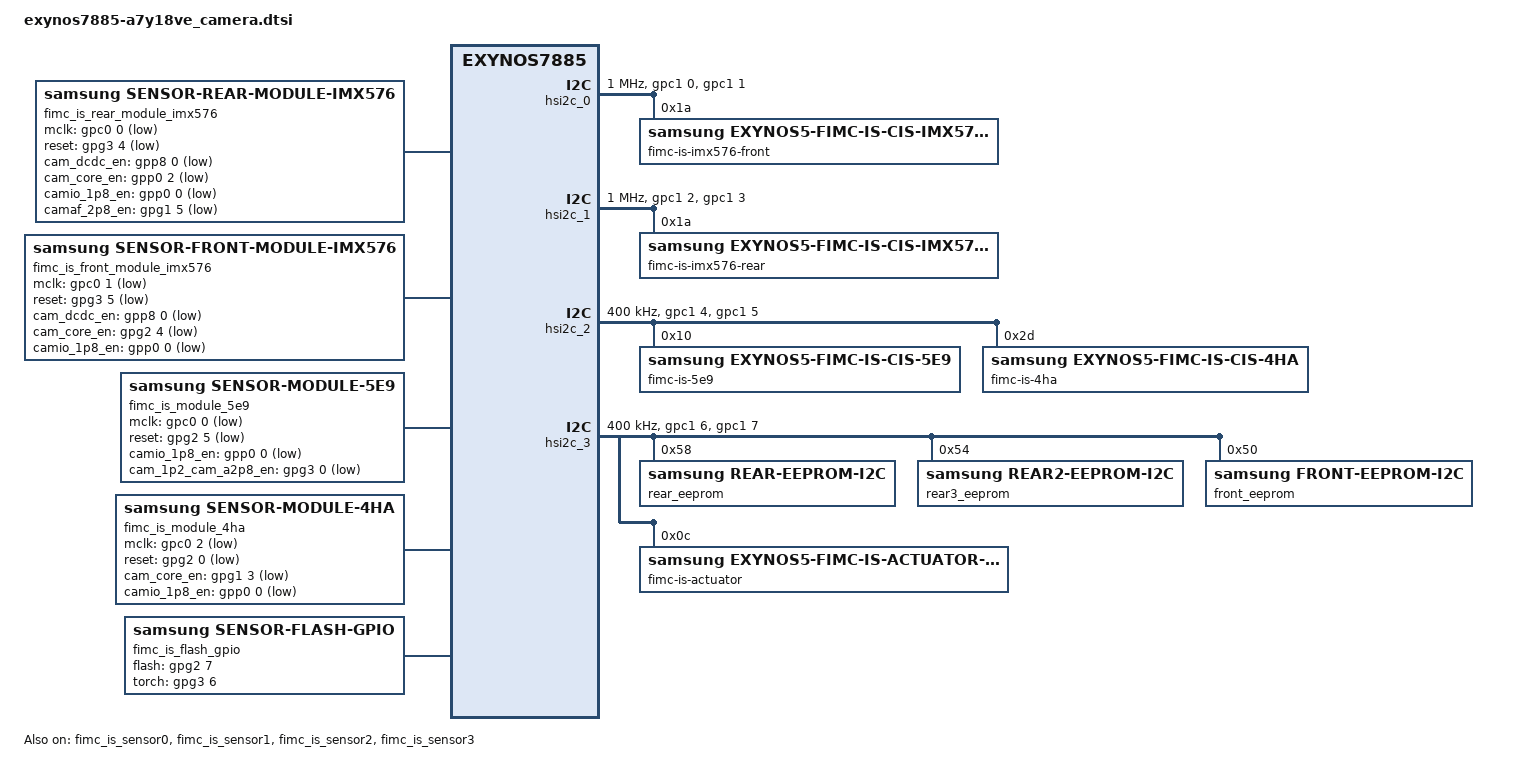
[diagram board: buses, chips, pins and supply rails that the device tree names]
/*
 * SAMSUNG EXYNOS7885 board camera device tree source
 *
 * Copyright (c) 2018 Samsung Electronics Co., Ltd.
 *		http://www.samsung.com
 *
 * This program is free software; you can redistribute it and/or modify
 * it under the terms of the GNU General Public License version 2 as
 * published by the Free Software Foundation.
 */

#include <dt-bindings/camera/fimc_is.h>

/ {
	fragment@camera {
		target-path = "/";
		__overlay__ {
			fimc_is_rear_module_imx576: fimc-is_rear_sensor_imx576@1A {
				compatible = "samsung,sensor-rear-module-imx576";

				pinctrl-names = "pin0", "pin1", "pin2", "release";
				pinctrl-0 = <>;
				pinctrl-1 = <&fimc_is_mclk0_out>;
				pinctrl-2 = <&fimc_is_mclk0_fn>;
				pinctrl-3 = <>;

				position = <0>;					/* Rear:0. Front:1 */
				id = <0>; 						/* bns_id */
				mclk_ch = <0>;					/* XCI0_MCLK */
				sensor_i2c_ch = <1>;				/* HSI2C1 */

				gpio_mclk = <&gpc0 0 0x1>;			/* RCAM1_RCAM2_MCLK - XCI0_MCLK */
				gpio_reset = <&gpg3 4 0x1>;			/* RCAM1_RST_N - XGPIO24 */

				gpio_cam_dcdc_en = <&gpp8 0 0x1>;	/* CAM_DCDC_EN - XUSI2_SDA1_NSS_RTS		---> 24M_CAMERA_1.8V (core voltage source) */
				gpio_cam_core_en = <&gpp0 2 0x1>;	/* RCAM1_LDO_EN - XU0CTSN		---> DVDD1P05, AVDD2P8 */
				gpio_camio_1p8_en = <&gpp0 0 0x1>;	/* CAM_IO_EN - XU0RXD			---> VDDIO1P8 */
				gpio_camaf_2p8_en = <&gpg1 5 0x1>;	/* RCAM1_AFVDD_2P8_EN - XGPIO9	---> AFVDD_2P8  */
				shared_camio_1p8;
				shared_mclk;
				status = "okay";

				af {
					product_name = <19>;			/* ACTUATOR_NAME_DW9808 */
					i2c_addr = <0x18>;
					i2c_ch = <3>;
				};

				flash {
					product_name = <11>;			/* FLADRV_NAME_DRV_FLASH_GPIO : S2MU005 */
					flash_first_gpio = <2>;		/* DICO not use first, second gpio value */
					flash_second_gpio = <1>;
				};
			};

			fimc_is_front_module_imx576: fimc-is_front_sensor_imx576@1A {
				compatible = "samsung,sensor-front-module-imx576";

				pinctrl-names = "pin0", "pin1", "pin2", "release";
				pinctrl-0 = <>;
				pinctrl-1 = <&fimc_is_mclk1_out>;
				pinctrl-2 = <&fimc_is_mclk1_fn>;
				pinctrl-3 = <>;

				position = <1>;					/* Rear:0. Front:1 */
				id = <1>; 						/* bns_id */
				mclk_ch = <1>;					/* XCI1_MCLK */
				sensor_i2c_ch = <0>;				/* HSI2C0 */

				gpio_mclk = <&gpc0 1 0x1>;			/* FCAM_MCLK - XCI1_MCLK */
				gpio_reset = <&gpg3 5 0x1>;			/* FCAM_RST_N - XGPIO25 */

				gpio_cam_dcdc_en = <&gpp8 0 0x1>;	/* CAM_DCDC_EN - XUSI2_SDA1_NSS_RTS		---> 24M_CAMERA_1.8V (core voltage source) */
				gpio_cam_core_en = <&gpg2 4 0x1>;	/* FCAM_LDO_EN - XGPIO16		---> DVDD1P05, AVDD2P8 */
				gpio_camio_1p8_en = <&gpp0 0 0x1>;	/* CAM_IO_EN - XU0RXD			---> VDDIO1P8 */
				shared_camio_1p8;
				status = "okay";
			};

			fimc_is_module_5e9: fimc-is_sensor_5e9@10 {
				compatible = "samsung,sensor-module-5e9";

				pinctrl-names = "pin0", "pin1", "pin2", "release";
				pinctrl-0 = <>;
				pinctrl-1 = <&fimc_is_mclk0_in>;
				pinctrl-2 = <&fimc_is_mclk0_fn>;
				pinctrl-3 = <>;

				position = <4>;							/* Rear:0. Front:1 */
				id = <3>;									/* bns_id */
				mclk_ch = <0>;
				sensor_i2c_ch = <2>;						/* HSI2C3 */

				gpio_mclk = <&gpc0 0 0x1>;					/* RCAM1_RCAM2_MCLK - XCI0_MCLK */
				gpio_reset = <&gpg2 5 0x1>;					/* RCAM2_RST_N - XGPIO17 */
				gpio_camio_1p8_en = <&gpp0 0 0x1>;			/* CAM_IO_EN - XU0RXD */
				gpio_cam_1p2_cam_a2p8_en = <&gpg3 0 0x1>;		/* RCAM2_LDO_EN - XGPIO20 */
				shared_camio_1p8;
				shared_mclk;
				status = "okay";
			};

			fimc_is_module_4ha: fimc-is_sensor_4ha@6C {
				compatible = "samsung,sensor-module-4ha";

				pinctrl-names = "pin0", "pin1", "pin2", "release";
				pinctrl-0 = <>;
				pinctrl-1 = <&fimc_is_mclk2_out>;
				pinctrl-2 = <&fimc_is_mclk2_fn>;
				pinctrl-3 = <>;

				position = <2>;					/* Rear:0. Front:1 .. Rear3:6*/
				id = <2>;					/* bns_id */
				mclk_ch = <2>;
				sensor_i2c_ch = <2>;

				gpio_mclk = <&gpc0 2 0x1>;				/* RCAM3_MCLK */
				gpio_reset = <&gpg2 0 0x1>;				/* RCAM3_RST_N */
				gpio_cam_core_en = <&gpg1 3 0x1>;		/* RCAM3_LDO_EN - XGPIO7	---> DVDD1P05, AVDD2P8 */
				gpio_camio_1p8_en = <&gpp0 0 0x1>;		/* CAM_IO_EN - XU0RXD		---> VDDIO1P8 */
				status = "okay";
			};

			fimc_is_flash_gpio: fimc-is-flash_gpio@0 {
				compatible = "samsung,sensor-flash-gpio";
				id = <0>; /* Rear  */
				status = "okay";

				flash-gpio = <&gpg2 7 0>;	/* CAM_FLASH_EN - XGPIO19 */
				torch-gpio = <&gpg3 6 0>;	/* CAM_TORCH_EN - XGPIO26 */
			};

		}; /* end of __overlay__ */
	}; /* end of fragment */
}; /* end of root */


/***** reference symbol node *****/
&fimc_is {
	pinctrl-names = "default","release";
	pinctrl-0 = <&fimc_is_mclk0_out &fimc_is_mclk1_out &fimc_is_mclk2_out>;
	pinctrl-1 = <>;

	sensor_common_cfg {
		use_csi_dma_split;
	};

	vender {
		rear_sensor_id = <115>;		/* SENSOR_NAME_IMX576 */
		front_sensor_id = <115>;		/* SENSOR_NAME_IMX576 */
		rear2_sensor_id = <39>;		/* SENSOR_NAME_S5K4HA */
		rear3_sensor_id = <41>;		/* SENSOR_NAME_S5K5E9 */

		//use_module_check;
		//skip_cal_loading;

		max_supported_camera = <6>;
		supported_cameraId = <0 1 20 23 50 52>;

		max_camera_num = <4>;
		camera_info0 {				/* 0 : rear - SENSOR_NAME_IMX576 */
			isp = <0>;			/* 0 : INT , 1 : EXT , 2 : SOC */
			cal_memory = <2>;		/* 0 : N , 1 : FROM , 2 : EEPROM , 3 : OTP  */
			read_version = <0>;		/* 0 : SYSFS , 1 : CAMON */
			core_voltage = <0>;		/* 0 : N , 1 : Y  */
			upgrade = <0>;			/* 0 : N , 1 : SYSFS , 2 : CAMON */
			companion = <0>;		/* 0 : N , 1 : Y  */
			ois = <0>;			/* 0 : N , 1 : Y  */
			valid = <1>;			/* 0 : INVALID, 1 : VALID */
			dual_open = <0>;		/* 0 : SINGLE_OPEN , 1 : DUAL_OPEN */
			position = <0>;			/* 0 : Rear, 1:Front, 2:Rear2, 5:Front2, 6:Rear3 */
		};
		camera_info1 {				/* 1 : front1 - SENSOR_NAME_IMX576 */
			isp = <0>;			/* 0 : INT , 1 : EXT , 2 : SOC */
			cal_memory = <2>;		/* 0 : N , 1 : FROM , 2 : EEPROM , 3 : OTP  */
			read_version = <0>;		/* 0 : SYSFS , 1 : CAMON */
			core_voltage = <0>;		/* 0 : N , 1 : Y  */
			upgrade = <0>;			/* 0 : N , 1 : SYSFS , 2 : CAMON */
			companion = <0>;		/* 0 : N , 1 : Y  */
			ois = <0>;			/* 0 : N , 1 : Y  */
			valid = <1>;			/* 0 : INVALID, 1 : VALID */
			dual_open = <0>;		/* 0 : SINGLE_OPEN , 1 : DUAL_OPEN */
			position = <1>;			/* 0 : Rear, 1:Front, 2:Rear2, 5:Front2, 6:Rear3 */
		};
		camera_info2 {				/* 1 : rear2 - SENSOR_NAME_S5K4HA */
			isp = <0>;			/* 0 : INT , 1 : EXT , 2 : SOC */
			cal_memory = <2>;		/* 0 : N , 1 : FROM , 2 : EEPROM , 3 : OTP  */
			read_version = <0>;		/* 0 : SYSFS , 1 : CAMON */
			core_voltage = <0>;		/* 0 : N , 1 : Y  */
			upgrade = <0>;			/* 0 : N , 1 : SYSFS , 2 : CAMON */
			companion = <0>;		/* 0 : N , 1 : Y  */
			ois = <0>;			/* 0 : N , 1 : Y  */
			valid = <1>;			/* 0 : INVALID, 1 : VALID */
			dual_open = <0>;		/* 0 : SINGLE_OPEN , 1 : DUAL_OPEN */
			position = <2>;			/* 0 : Rear, 1:Front, 2:Rear2, 5:Front2, 6:Rear3 */
		};
		camera_info3 {				/* 1 : rear3 - SENSOR_NAME_S5K5E9 */
			isp = <0>;			/* 0 : INT , 1 : EXT , 2 : SOC */
			cal_memory = <3>;		/* 0 : N , 1 : FROM , 2 : EEPROM , 3 : OTP  */
			read_version = <0>;		/* 0 : SYSFS , 1 : CAMON */
			core_voltage = <0>;		/* 0 : N , 1 : Y  */
			upgrade = <0>;			/* 0 : N , 1 : SYSFS , 2 : CAMON */
			companion = <0>;		/* 0 : N , 1 : Y  */
			ois = <0>;			/* 0 : N , 1 : Y  */
			valid = <1>;			/* 0 : INVALID, 1 : VALID */
			dual_open = <1>;		/* 0 : SINGLE_OPEN , 1 : DUAL_OPEN */
			position = <4>;			/* 0 : Rear, 1:Front, 2:Rear2, 5:Front2, 6:Rear3 */
		};

	};

	fimc_is_dvfs {
		/* TODO: DVFS level set */
		#define DVFS_INT_L0 533000
		#define DVFS_INT_L1 333000
		#define DVFS_INT_L2 267000
		#define DVFS_INT_L3 133000
		#define DVFS_INT_L4 107000

		#define DVFS_CAM_L0 690000
		#define DVFS_CAM_L1 680000
		#define DVFS_CAM_L2 670000
		#define DVFS_CAM_L3 660000
		#define DVFS_CAM_L4 650000

		#define DVFS_MIF_L0 2093000
		#define DVFS_MIF_L1 2002000
		#define DVFS_MIF_L2 1794000
		#define DVFS_MIF_L3 1539000
		#define DVFS_MIF_L4 1352000
		#define DVFS_MIF_L5 1014000
		#define DVFS_MIF_L6 845000
		#define DVFS_MIF_L7 676000
		#define DVFS_MIF_L8 546000
		#define DVFS_MIF_L9 420000

		table0 {
			desc = "default";

			default_int = <DVFS_INT_L4>;
			default_cam = <DVFS_CAM_L0>;
			default_mif = <DVFS_MIF_L0>;
			default_i2c = <0>;
			default_hpg = <1>;

			front_preview_int = <DVFS_INT_L4>;
			front_preview_cam = <DVFS_CAM_L0>;
			front_preview_mif = <DVFS_MIF_L4>;
			front_preview_i2c = <0>;
			front_preview_hpg = <1>;

			front_capture_int = <DVFS_INT_L4>;
			front_capture_cam = <DVFS_CAM_L0>;
			front_capture_mif = <DVFS_MIF_L4>;
			front_capture_i2c = <0>;
			front_capture_hpg = <1>;

			front_video_int = <DVFS_INT_L4>;
			front_video_cam = <DVFS_CAM_L0>;
			front_video_mif = <DVFS_MIF_L4>;
			front_video_i2c = <0>;
			front_video_hpg = <1>;

			front_vt1_int = <DVFS_INT_L4>;
			front_vt1_cam = <DVFS_CAM_L0>;
			front_vt1_mif = <DVFS_MIF_L7>;
			front_vt1_i2c = <0>;
			front_vt1_hpg = <1>;

			front_vt2_int = <DVFS_INT_L4>;
			front_vt2_cam = <DVFS_CAM_L0>;
			front_vt2_mif = <DVFS_MIF_L7>;
			front_vt2_i2c = <0>;
			front_vt2_hpg = <1>;

			front_vt4_int = <DVFS_INT_L4>;
			front_vt4_cam = <DVFS_CAM_L0>;
			front_vt4_mif = <DVFS_MIF_L7>;
			front_vt4_i2c = <0>;
			front_vt4_hpg = <1>;

			rear2_preview_int = <DVFS_INT_L4>;
			rear2_preview_cam = <DVFS_CAM_L3>;
			rear2_preview_mif = <DVFS_MIF_L4>;
			rear2_preview_i2c = <0>;
			rear2_preview_hpg = <1>;

			rear2_capture_int = <DVFS_INT_L4>;
			rear2_capture_cam = <DVFS_CAM_L3>;
			rear2_capture_mif = <DVFS_MIF_L3>;
			rear2_capture_i2c = <0>;
			rear2_capture_hpg = <1>;

			rear2_video_int = <DVFS_INT_L4>;
			rear2_video_cam = <DVFS_CAM_L3>;
			rear2_video_mif = <DVFS_MIF_L4>;
			rear2_video_i2c = <0>;
			rear2_video_hpg = <1>;

			rear2_video_fhd_int = <DVFS_INT_L4>;
			rear2_video_fhd_cam = <DVFS_CAM_L0>;
			rear2_video_fhd_mif = <DVFS_MIF_L3>;
			rear2_video_fhd_i2c = <0>;
			rear2_video_fhd_hpg = <1>;

			rear_preview_fhd_int = <DVFS_INT_L4>;
			rear_preview_fhd_cam = <DVFS_CAM_L0>;
			rear_preview_fhd_mif = <DVFS_MIF_L3>;
			rear_preview_fhd_i2c = <0>;
			rear_preview_fhd_hpg = <1>;

			rear_capture_int = <DVFS_INT_L4>;
			rear_capture_cam = <DVFS_CAM_L0>;
			rear_capture_mif = <DVFS_MIF_L3>;
			rear_capture_i2c = <0>;
			rear_capture_hpg = <1>;

			rear_video_fhd_int = <DVFS_INT_L4>;
			rear_video_fhd_cam = <DVFS_CAM_L0>;
			rear_video_fhd_mif = <DVFS_MIF_L3>;
			rear_video_fhd_i2c = <0>;
			rear_video_fhd_hpg = <1>;

			rear_video_uhd_int = <DVFS_INT_L4>;
			rear_video_uhd_cam = <DVFS_CAM_L0>;
			rear_video_uhd_mif = <DVFS_MIF_L1>;
			rear_video_uhd_i2c = <0>;
			rear_video_uhd_hpg = <1>;

			rear_video_fhd_capture_int = <DVFS_INT_L4>;
			rear_video_fhd_capture_cam = <DVFS_CAM_L0>;
			rear_video_fhd_capture_mif = <DVFS_MIF_L3>;
			rear_video_fhd_capture_i2c = <0>;
			rear_video_fhd_capture_hpg = <1>;

			rear_video_uhd_capture_int = <DVFS_INT_L4>;
			rear_video_uhd_capture_cam = <DVFS_CAM_L0>;
			rear_video_uhd_capture_mif = <DVFS_MIF_L0>;
			rear_video_uhd_capture_i2c = <0>;
			rear_video_uhd_capture_hpg = <1>;

			dual_preview_int = <DVFS_INT_L4>;
			dual_preview_cam = <DVFS_CAM_L0>;
			dual_preview_mif = <DVFS_MIF_L2>;
			dual_preview_i2c = <0>;
			dual_preview_hpg = <1>;

			dual_capture_int = <DVFS_INT_L4>;
			dual_capture_cam = <DVFS_CAM_L0>;
			dual_capture_mif = <DVFS_MIF_L2>;
			dual_capture_i2c = <0>;
			dual_capture_hpg = <1>;

			dual_video_int = <DVFS_INT_L4>;
			dual_video_cam = <DVFS_CAM_L0>;
			dual_video_mif = <DVFS_MIF_L2>;
			dual_video_i2c = <0>;
			dual_video_hpg = <1>;

			preview_high_speed_fps_int = <DVFS_INT_L4>;
			preview_high_speed_fps_cam = <DVFS_CAM_L0>;
			preview_high_speed_fps_mif = <DVFS_MIF_L5>;
			preview_high_speed_fps_i2c = <0>;
			preview_high_speed_fps_hpg = <1>;

			video_high_speed_60fps_int = <DVFS_INT_L4>;
			video_high_speed_60fps_cam = <DVFS_CAM_L0>;
			video_high_speed_60fps_mif = <DVFS_MIF_L3>;
			video_high_speed_60fps_i2c = <0>;
			video_high_speed_60fps_hpg = <1>;

			video_high_speed_120fps_int = <DVFS_INT_L4>;
			video_high_speed_120fps_cam = <DVFS_CAM_L0>;
			video_high_speed_120fps_mif = <DVFS_MIF_L3>;
			video_high_speed_120fps_i2c = <0>;
			video_high_speed_120fps_hpg = <6>;

			video_high_speed_240fps_int = <DVFS_INT_L0>;
			video_high_speed_240fps_cam = <DVFS_CAM_L0>;
			video_high_speed_240fps_mif = <DVFS_MIF_L0>;
			video_high_speed_240fps_i2c = <0>;
			video_high_speed_240fps_hpg = <6>;

			max_int = <DVFS_INT_L4>;
			max_cam = <DVFS_CAM_L0>;
			max_mif = <DVFS_MIF_L0>;
			max_i2c = <0>;
			max_hpg = <1>;
		};

		table1 {
			desc = "DVFS table for HAL3";

			default_int = <DVFS_INT_L4>;
			default_cam = <DVFS_CAM_L0>;
			default_mif = <DVFS_MIF_L0>;
			default_i2c = <0>;
			default_hpg = <1>;

			front_preview_int = <DVFS_INT_L4>;
			front_preview_cam = <DVFS_CAM_L0>;
			front_preview_mif = <DVFS_MIF_L4>;
			front_preview_i2c = <0>;
			front_preview_hpg = <1>;

			front_capture_int = <DVFS_INT_L4>;
			front_capture_cam = <DVFS_CAM_L0>;
			front_capture_mif = <DVFS_MIF_L4>;
			front_capture_i2c = <0>;
			front_capture_hpg = <1>;

			front_video_int = <DVFS_INT_L4>;
			front_video_cam = <DVFS_CAM_L0>;
			front_video_mif = <DVFS_MIF_L4>;
			front_video_i2c = <0>;
			front_video_hpg = <1>;

			front_vt1_int = <DVFS_INT_L4>;
			front_vt1_cam = <DVFS_CAM_L0>;
			front_vt1_mif = <DVFS_MIF_L5>;
			front_vt1_i2c = <0>;
			front_vt1_hpg = <1>;

			front_vt2_int = <DVFS_INT_L4>;
			front_vt2_cam = <DVFS_CAM_L0>;
			front_vt2_mif = <DVFS_MIF_L5>;
			front_vt2_i2c = <0>;
			front_vt2_hpg = <1>;

			front_vt4_int = <DVFS_INT_L4>;
			front_vt4_cam = <DVFS_CAM_L0>;
			front_vt4_mif = <DVFS_MIF_L5>;
			front_vt4_i2c = <0>;
			front_vt4_hpg = <1>;

			rear2_preview_fhd_int = <DVFS_INT_L4>;
			rear2_preview_fhd_cam = <DVFS_CAM_L3>;
			rear2_preview_fhd_mif = <DVFS_MIF_L4>;
			rear2_preview_fhd_i2c = <0>;
			rear2_preview_fhd_hpg = <1>;

			rear2_capture_int = <DVFS_INT_L4>;
			rear2_capture_cam = <DVFS_CAM_L3>;
			rear2_capture_mif = <DVFS_MIF_L3>;
			rear2_capture_i2c = <0>;
			rear2_capture_hpg = <1>;

			rear2_video_fhd_int = <DVFS_INT_L4>;
			rear2_video_fhd_cam = <DVFS_CAM_L0>;
			rear2_video_fhd_mif = <DVFS_MIF_L2>;
			rear2_video_fhd_i2c = <0>;
			rear2_video_fhd_hpg = <1>;

			rear2_video_fhd_capture_int = <DVFS_INT_L4>;
			rear2_video_fhd_capture_cam = <DVFS_CAM_L0>;
			rear2_video_fhd_capture_mif = <DVFS_MIF_L2>;
			rear2_video_fhd_capture_i2c = <0>;
			rear2_video_fhd_capture_hpg = <1>;

			rear3_preview_int = <DVFS_INT_L4>;
			rear3_preview_cam = <DVFS_CAM_L3>;
			rear3_preview_mif = <DVFS_MIF_L4>;
			rear3_preview_i2c = <0>;
			rear3_preview_hpg = <1>;

			rear3_capture_int = <DVFS_INT_L4>;
			rear3_capture_cam = <DVFS_CAM_L3>;
			rear3_capture_mif = <DVFS_MIF_L3>;
			rear3_capture_i2c = <0>;
			rear3_capture_hpg = <1>;

			rear3_video_int = <DVFS_INT_L4>;
			rear3_video_cam = <DVFS_CAM_L3>;
			rear3_video_mif = <DVFS_MIF_L4>;
			rear3_video_i2c = <0>;
			rear3_video_hpg = <1>;

			rear3_video_fhd_int = <DVFS_INT_L4>;
			rear3_video_fhd_cam = <DVFS_CAM_L0>;
			rear3_video_fhd_mif = <DVFS_MIF_L2>;
			rear3_video_fhd_i2c = <0>;
			rear3_video_fhd_hpg = <1>;

			rear_preview_fhd_int = <DVFS_INT_L4>;
			rear_preview_fhd_cam = <DVFS_CAM_L0>;
			rear_preview_fhd_mif = <DVFS_MIF_L2>;
			rear_preview_fhd_i2c = <0>;
			rear_preview_fhd_hpg = <1>;

			rear_capture_int = <DVFS_INT_L4>;
			rear_capture_cam = <DVFS_CAM_L0>;
			rear_capture_mif = <DVFS_MIF_L2>;
			rear_capture_i2c = <0>;
			rear_capture_hpg = <1>;

			rear_video_fhd_int = <DVFS_INT_L4>;
			rear_video_fhd_cam = <DVFS_CAM_L0>;
			rear_video_fhd_mif = <DVFS_MIF_L2>;
			rear_video_fhd_i2c = <0>;
			rear_video_fhd_hpg = <1>;

			rear_video_uhd_int = <DVFS_INT_L4>;
			rear_video_uhd_cam = <DVFS_CAM_L0>;
			rear_video_uhd_mif = <DVFS_MIF_L1>;
			rear_video_uhd_i2c = <0>;
			rear_video_uhd_hpg = <1>;

			rear_video_fhd_capture_int = <DVFS_INT_L4>;
			rear_video_fhd_capture_cam = <DVFS_CAM_L0>;
			rear_video_fhd_capture_mif = <DVFS_MIF_L3>;
			rear_video_fhd_capture_i2c = <0>;
			rear_video_fhd_capture_hpg = <1>;

			rear_video_uhd_capture_int = <DVFS_INT_L4>;
			rear_video_uhd_capture_cam = <DVFS_CAM_L0>;
			rear_video_uhd_capture_mif = <DVFS_MIF_L0>;
			rear_video_uhd_capture_i2c = <0>;
			rear_video_uhd_capture_hpg = <1>;

			dual_preview_int = <DVFS_INT_L4>;
			dual_preview_cam = <DVFS_CAM_L0>;
			dual_preview_mif = <DVFS_MIF_L2>;
			dual_preview_i2c = <0>;
			dual_preview_hpg = <1>;

			dual_capture_int = <DVFS_INT_L4>;
			dual_capture_cam = <DVFS_CAM_L0>;
			dual_capture_mif = <DVFS_MIF_L2>;
			dual_capture_i2c = <0>;
			dual_capture_hpg = <1>;

			dual_video_int = <DVFS_INT_L4>;
			dual_video_cam = <DVFS_CAM_L0>;
			dual_video_mif = <DVFS_MIF_L2>;
			dual_video_i2c = <0>;
			dual_video_hpg = <1>;

			preview_high_speed_fps_int = <DVFS_INT_L4>;
			preview_high_speed_fps_cam = <DVFS_CAM_L0>;
			preview_high_speed_fps_mif = <DVFS_MIF_L5>;
			preview_high_speed_fps_i2c = <0>;
			preview_high_speed_fps_hpg = <1>;

			video_high_speed_60fps_int = <DVFS_INT_L4>;
			video_high_speed_60fps_cam = <DVFS_CAM_L0>;
			video_high_speed_60fps_mif = <DVFS_MIF_L2>;
			video_high_speed_60fps_i2c = <0>;
			video_high_speed_60fps_hpg = <1>;

			video_high_speed_120fps_int = <DVFS_INT_L4>;
			video_high_speed_120fps_cam = <DVFS_CAM_L0>;
			video_high_speed_120fps_mif = <DVFS_MIF_L2>;
			video_high_speed_120fps_i2c = <0>;
			video_high_speed_120fps_hpg = <6>;

			video_high_speed_240fps_int = <DVFS_INT_L0>;
			video_high_speed_240fps_cam = <DVFS_CAM_L0>;
			video_high_speed_240fps_mif = <DVFS_MIF_L0>;
			video_high_speed_240fps_i2c = <0>;
			video_high_speed_240fps_hpg = <6>;

			max_int = <DVFS_INT_L4>;
			max_cam = <DVFS_CAM_L0>;
			max_mif = <DVFS_MIF_L0>;
			max_i2c = <0>;
			max_hpg = <1>;
		};
	};
};

#define SENSOR_SCENARIO_NORMAL          0
#define SENSOR_SCENARIO_VISION          1
#define SENSOR_SCENARIO_EXTERNAL        2
#define SENSOR_SCENARIO_OIS_FACTORY     3
#define SENSOR_SCENARIO_VIRTUAL         9
#define FLITE_ID_NOTHING 100

/* fimc_is_sensor0 - XMIPI_CSI4LA */
&fimc_is_sensor0 {
	scenario = <SENSOR_SCENARIO_NORMAL>;	/* Normal, Vision, OIS etc */
	id = <0>;
	csi_ch = <1>;
	flite_ch = <FLITE_ID_NOTHING>;
	is_bns = <0>;
	is_flite = <0>;
	status = "okay";

	//use_ssvc1_internal; /* just use for pdaf sensor */
};

/* fimc_is_sensor1 - XMIPI_CSI4LB */
&fimc_is_sensor1 {
	scenario = <SENSOR_SCENARIO_NORMAL>;	/* Normal, Vision, OIS etc */
	id = <1>;
	csi_ch = <0>;
	flite_ch = <FLITE_ID_NOTHING>;
	is_bns = <0>;
	is_flite = <0>;
	status = "okay";
};

/* fimc_is_sensor2 - XMIPI_CSI4LC */
&fimc_is_sensor2 {
	scenario = <SENSOR_SCENARIO_NORMAL>;	/* Normal, Vision, OIS etc */
	id = <2>;
	csi_ch = <2>;
	flite_ch = <FLITE_ID_NOTHING>;
	is_bns = <0>;
	is_flite = <0>;
	status = "okay";
};

/* fimc_is_sensor3 - XMIPI_CSI2L */
&fimc_is_sensor3 {
	scenario = <SENSOR_SCENARIO_NORMAL>;	/* Normal, Vision, OIS etc */
	id = <3>;
	csi_ch = <3>;
	flite_ch = <FLITE_ID_NOTHING>;
	is_bns = <0>;
	is_flite = <0>;
	status = "okay";
};

&hsi2c_0 {
	gpios = <&gpc1 0 0 &gpc1 1 0>;
	status = "okay";
	clock-frequency = <1000000>;
	samsung,scl-extended-low-period;
	samsung,reset-before-trans;

	pinctrl-names = "on_i2c";
	pinctrl-0 = <&hs_i2c0_bus>;

	fimc-is-imx576-front@1A {
		compatible = "samsung,exynos5-fimc-is-cis-imx576-front";
		reg = <0x1A>;				/* 1 bit right shift */
		id = <1>;					/* matching sensor id */
		sensor_f_number = <190>;	/* f number 1.9 */
		setfile = "setB";
		use_initial_ae; /* for initial AE of face unlock */
	};
};

&hsi2c_1 {
	gpios = <&gpc1 2 0 &gpc1 3 0>;
	status = "okay";
	clock-frequency = <1000000>;
	samsung,scl-extended-low-period;
	samsung,reset-before-trans;

	pinctrl-names = "on_i2c";
	pinctrl-0 = <&hs_i2c1_bus>;
	
	fimc-is-imx576-rear@1A {
		compatible = "samsung,exynos5-fimc-is-cis-imx576-rear";
		reg = <0x1A>;				/* 1 bit right shift */
		id = <0>;					/* matching sensor id */
		sensor_f_number = <170>;	/* f number 1.7 */
		setfile = "setB";
	};
};

&hsi2c_2 {
	gpios = <&gpc1 4 0 &gpc1 5 0>;
	status = "okay";
	clock-frequency = <400000>;
	samsung,scl-extended-low-period;
	samsung,reset-before-trans;

	pinctrl-names = "on_i2c";
	pinctrl-0 = <&hs_i2c2_bus>;

	fimc-is-5e9@10{
		compatible = "samsung,exynos5-fimc-is-cis-5e9";
		reg = <0x10>;				/* 1 bit right shift */
		id = <3>;					/* matching sensor id */
		sensor_f_number = <220>;	/* f number 2.2 */
		setfile = "setB";
		use_sensor_otp;				/* USE OTP CAL MAP */
		rom_position = <4>;
	};

	fimc-is-4ha@2D {
		compatible = "samsung,exynos5-fimc-is-cis-4ha";
		reg = <0x2D>;				/* 1 bit right shift : 7bit address */
		id = <2>;
		sensor_f_number = <190>;	/* f number 1.9 */
		setfile = "setB";			/* MIPI CLK changed to 684.67 in J7Duo */
	};
};

&hsi2c_3 {
	gpios = <&gpc1 6 0 &gpc1 7 0>;
	status = "okay";
	clock-frequency = <400000>;
	samsung,scl-extended-low-period;
	samsung,reset-before-trans;

	pinctrl-names = "on_i2c";
	pinctrl-0 = <&hs_i2c3_bus>;

	rear_eeprom@B0 {
		compatible = "samsung,rear-eeprom-i2c";
		reg = <0x58>;		/* 7bit-addr */
		//use_common_rom_position = <4>;
	};

	rear3_eeprom@A8 {
		compatible = "samsung,rear2-eeprom-i2c";
		reg = <0x54>;		/* 7bit-addr */
	};

	front_eeprom@A0 {
		compatible = "samsung,front-eeprom-i2c";
		reg = <0x50>;		/* 7bit-addr */
	};

	fimc-is-actuator@18 {
		compatible = "samsung,exynos5-fimc-is-actuator-dw9808";
		reg = <0x0C>;
		id = <0>;			/* matching sensor id */
		place = <0>;
	};
};

